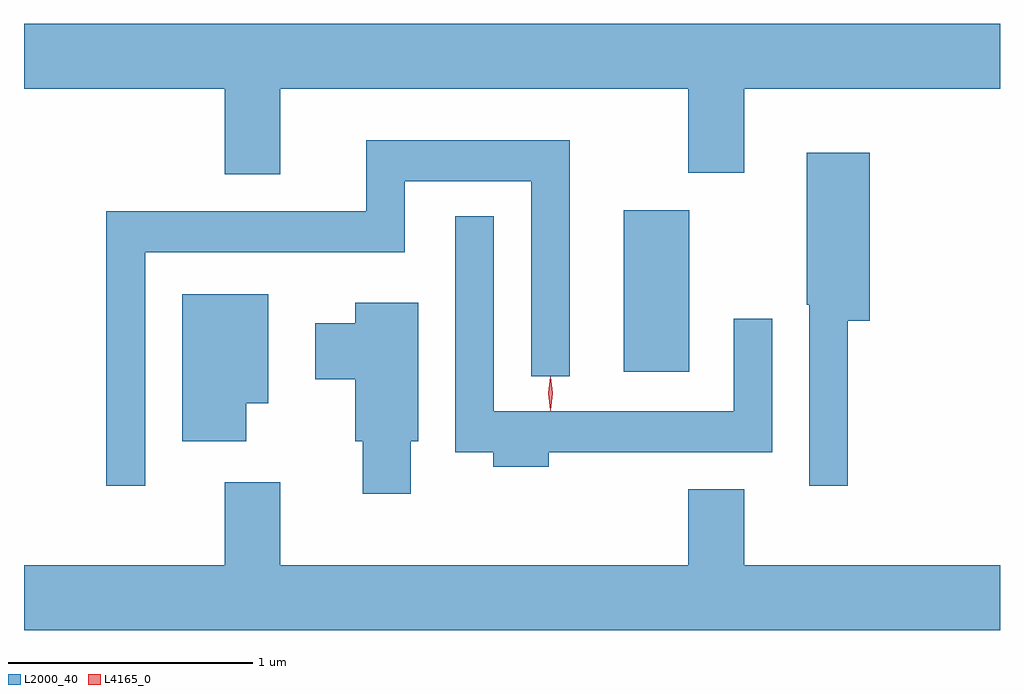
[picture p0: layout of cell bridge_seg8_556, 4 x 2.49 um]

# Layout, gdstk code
import gdstk
lib = gdstk.Library(unit=1e-6, precision=1e-09)
def R(c, l, rs):  # rectangles x0, y0, x1, y1
    for r in rs: c.add(gdstk.rectangle(r[:2], r[2:], *l))
def P(c, l, *ps):  # polygons
    for p in ps: c.add(gdstk.Polygon(p, *l))
L2000_40 = (2000, 40)
L4165_0 = (4165, 0)

bridge_seg8_556 = lib.new_cell('bridge_seg8_556')
R(bridge_seg8_556, L2000_40, [(613.006,1819.716,613.274,1820.379)])
P(bridge_seg8_556, L2000_40, [(610.548,1820.876),(611.371,1820.876),(611.371,1820.526),(611.599,1820.526),(611.599,1820.876),(613.271,1820.876),(613.271,1820.531),(613.499,1820.531),(613.499,1820.876),(614.548,1820.876),(614.548,1821.143),(610.548,1821.143)],
  [(611.044,1820.206),(612.109,1820.206),(612.109,1820.496),(612.626,1820.496),(612.626,1819.698),(612.784,1819.698),(612.784,1820.664),(611.951,1820.664),(611.951,1820.374),(610.886,1820.374),(610.886,1819.248),(611.044,1819.248)],
  [(613.924,1819.926),(614.014,1819.926),(614.014,1820.614),(613.756,1820.614),(613.756,1819.99),(613.766,1819.99),(613.766,1819.248),(613.924,1819.248)],
  [(612.699,1819.386),(613.614,1819.386),(613.614,1819.933),(613.456,1819.933),(613.456,1819.554),(612.474,1819.554),(612.474,1820.353),(612.316,1820.353),(612.316,1819.386),(612.471,1819.386),(612.471,1819.326),(612.699,1819.326)],
  [(611.459,1819.586),(611.549,1819.586),(611.549,1820.034),(611.196,1820.034),(611.196,1819.431),(611.459,1819.431)],
  [(612.134,1819.431),(612.164,1819.431),(612.164,1819.999),(611.906,1819.999),(611.906,1819.914),(611.741,1819.914),(611.741,1819.686),(611.906,1819.686),(611.906,1819.431),(611.936,1819.431),(611.936,1819.216),(612.134,1819.216)],
  [(614.548,1818.924),(613.499,1818.924),(613.499,1819.234),(613.271,1819.234),(613.271,1818.924),(611.599,1818.924),(611.599,1819.264),(611.371,1819.264),(611.371,1818.924),(610.548,1818.924),(610.548,1818.656),(614.548,1818.656)])
P(bridge_seg8_556, L4165_0, [(612.706,1819.557),(612.705,1819.558),(612.696,1819.627),(612.705,1819.696),(612.706,1819.696),(612.706,1819.696),(612.716,1819.627),(612.706,1819.558)],
  [(612.706,1819.559),(612.705,1819.56),(612.696,1819.626),(612.705,1819.692),(612.706,1819.693),(612.706,1819.692),(612.716,1819.626),(612.706,1819.56)])

lib.write_gds('bridge_seg8_556.gds')
